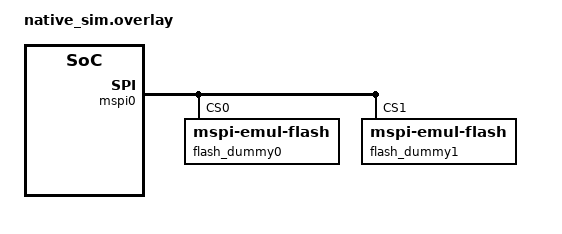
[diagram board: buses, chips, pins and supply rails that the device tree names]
/*
 * Copyright (c) 2024 Ambiq Micro Inc. <www.ambiq.com>
 *
 * SPDX-License-Identifier: Apache-2.0
 */

/ {
	aliases {
		mspi0 = &mspi0;
	};
};

&mspi0 {

	ce-gpios = <&gpio0 5 GPIO_ACTIVE_LOW>,
		   <&gpio0 18 GPIO_ACTIVE_LOW>;
	dqs-support;
	software-multiperipheral;

	flash_dummy0: flash_dummy0@0 {
		status = "okay";
		compatible = "zephyr,mspi-emul-flash";
		reg = <0x0>;
		size = <DT_SIZE_K(8*8)>;
		mspi-max-frequency = <48000000>;
		mspi-io-mode = "MSPI_IO_MODE_QUAD";
		mspi-data-rate = "MSPI_DATA_RATE_SINGLE";
		mspi-hardware-ce-num = <0>;
		read-command = <0x0B>;
		write-command = <0x02>;
		command-length = "INSTR_1_BYTE";
		address-length = "ADDR_4_BYTE";
		rx-dummy = <8>;
		tx-dummy = <0>;
	};

	flash_dummy1: flash_dummy1@1 {
		status = "okay";
		compatible = "zephyr,mspi-emul-flash";
		reg = <0x1>;
		size = <DT_SIZE_K(8*8)>;
		mspi-max-frequency = <96000000>;
		mspi-io-mode = "MSPI_IO_MODE_OCTAL";
		mspi-data-rate = "MSPI_DATA_RATE_DUAL";
		mspi-hardware-ce-num = <1>;
		mspi-dqs-enable;
		read-command = <0x20>;
		write-command = <0xAA>;
		command-length = "INSTR_2_BYTE";
		address-length = "ADDR_3_BYTE";
		rx-dummy = <6>;
		tx-dummy = <5>;
		xip-config = <1 0 0 0>;
		ce-break-config = <1024 4>;
	};
};
